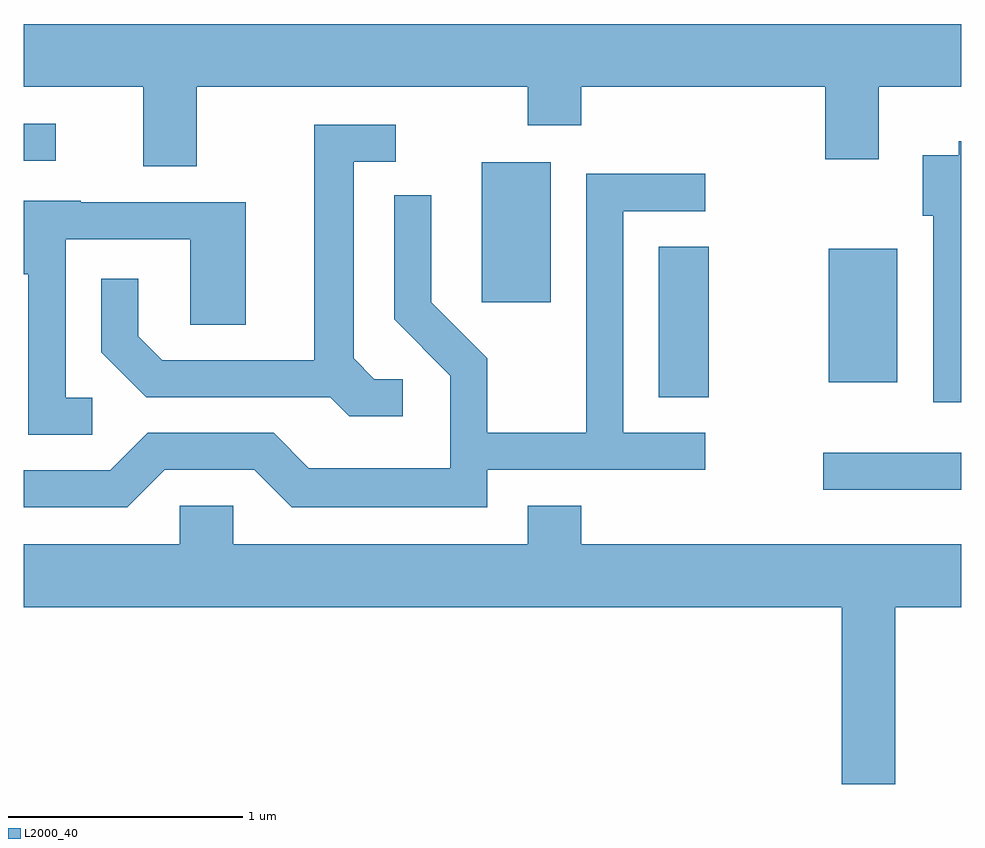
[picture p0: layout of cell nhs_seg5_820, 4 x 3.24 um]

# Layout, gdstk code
import gdstk
lib = gdstk.Library(unit=1e-6, precision=1e-09)
def R(c, l, rs):  # rectangles x0, y0, x1, y1
    for r in rs: c.add(gdstk.rectangle(r[:2], r[2:], *l))
def P(c, l, *ps):  # polygons
    for p in ps: c.add(gdstk.Polygon(p, *l))
L2000_40 = (2000, 40)

nhs_seg5_820 = lib.new_cell('nhs_seg5_820')
R(nhs_seg5_820, L2000_40, [(213.023,1417.336,213.611,1417.494), (212.321,1417.731,212.534,1418.374), (213.046,1417.796,213.339,1418.364), (211.566,1418.136,211.859,1418.734), (209.611,1418.741,209.748,1418.899)])
P(nhs_seg5_820, L2000_40, [(210.349,1419.056),(211.761,1419.056),(211.761,1418.891),(211.989,1418.891),(211.989,1419.056),(213.031,1419.056),(213.031,1418.746),(213.259,1418.746),(213.259,1419.056),(213.611,1419.056),(213.611,1419.324),(209.611,1419.324),(209.611,1419.056),(210.121,1419.056),(210.121,1418.716),(210.349,1418.716)],
  [(211.228,1417.809),(211.107,1417.809),(211.019,1417.897),(211.019,1418.736),(211.198,1418.736),(211.198,1418.894),(210.851,1418.894),(210.851,1417.889),(210.202,1417.889),(210.099,1417.992),(210.099,1418.238),(209.941,1418.238),(209.941,1417.924),(210.134,1417.731),(210.919,1417.731),(210.999,1417.651),(211.228,1417.651)],
  [(213.611,1418.824),(213.601,1418.824),(213.601,1418.764),(213.446,1418.764),(213.446,1418.506),(213.491,1418.506),(213.491,1417.711),(213.611,1417.711)],
  [(210.212,1417.421),(210.594,1417.421),(210.754,1417.261),(211.589,1417.261),(211.589,1417.421),(212.518,1417.421),(212.518,1417.579),(212.169,1417.579),(212.169,1418.526),(212.518,1418.526),(212.518,1418.684),(212.011,1418.684),(212.011,1417.579),(211.589,1417.579),(211.589,1417.897),(211.349,1418.137),(211.349,1418.593),(211.191,1418.593),(211.191,1418.064),(211.431,1417.824),(211.431,1417.429),(210.827,1417.429),(210.677,1417.579),(210.139,1417.579),(209.979,1417.419),(209.611,1417.419),(209.611,1417.261),(210.052,1417.261)],
  [(209.903,1417.729),(209.789,1417.729),(209.789,1418.406),(210.321,1418.406),(210.321,1418.041),(210.559,1418.041),(210.559,1418.564),(209.855,1418.564),(209.855,1418.569),(209.611,1418.569),(209.611,1418.256),(209.631,1418.256),(209.631,1417.571),(209.903,1417.571)],
  [(213.329,1416.836),(213.611,1416.836),(213.611,1417.104),(211.989,1417.104),(211.989,1417.269),(211.761,1417.269),(211.761,1417.104),(210.504,1417.104),(210.504,1417.269),(210.276,1417.269),(210.276,1417.104),(209.611,1417.104),(209.611,1416.836),(213.101,1416.836),(213.101,1416.081),(213.329,1416.081)])

lib.write_gds('nhs_seg5_820.gds')
